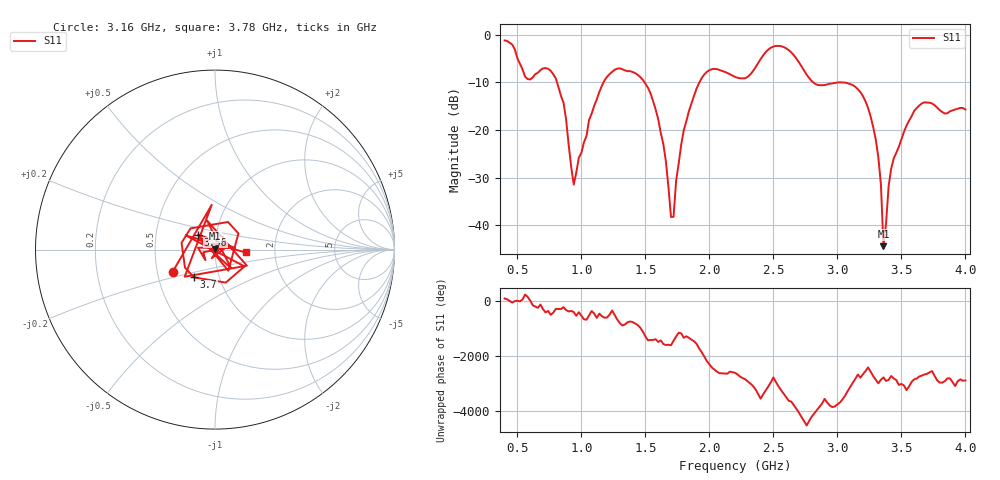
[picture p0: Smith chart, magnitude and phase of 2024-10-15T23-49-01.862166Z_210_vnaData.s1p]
! Created with skrf (http://scikit-rf.org).
# Hz S RI R 50.0
!freq ReS11 ImS11
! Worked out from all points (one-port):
!   181 points, 400 MHz to 4 GHz, reference 50 ohm
!   lowest |S11| = -44.4 dB at 3.36 GHz (marker M1), VSWR 1.01, Z = 49.9 + j0.584 ohm
!   |S11| at or under -10 dB: 809.3 MHz to 1.173 GHz (363.7 MHz wide, 36.7 % of centre); 1.493 GHz to 1.922 GHz (429.4 MHz wide, 25.1 % of centre); 3.023 GHz to end of sweep (the widest 3 of 4)
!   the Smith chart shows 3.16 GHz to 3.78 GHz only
!   S11 on the Smith chart (normalised r, x): 3.16 GHz: 0.60, -0.16; 3.56 GHz: 0.82, +0.14; 3.7 GHz: 0.76, -0.24; 3.78 GHz: 1.41, -0.05
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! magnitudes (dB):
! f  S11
! 400 MHz  -1.2
! 580 MHz  -9.3
! 760 MHz  -7.6
! 860 MHz  -14.3
! 940 MHz  -31.5
! 1.14 GHz  -12.0
! 1.3 GHz  -7.1
! 1.54 GHz  -12.3
! 1.64 GHz  -23.0
! 1.7 GHz  -38.3
! 1.72 GHz  -38.2
! 1.76 GHz  -27.1
! 1.84 GHz  -16.0
! 1.94 GHz  -9.1
! 2.2 GHz  -8.9
! 2.5 GHz  -2.5
! 2.66 GHz  -4.3
! 2.84 GHz  -10.5
! 3.1 GHz  -10.4
! 3.16 GHz  -11.5
! 3.3 GHz  -22.1
! 3.34 GHz  -31.5
! 3.36 GHz  -44.4
! 3.42 GHz  -28.2
! 3.56 GHz  -18.0
! 3.7 GHz  -14.2
! 3.78 GHz  -15.3
! 4 GHz  -15.7
